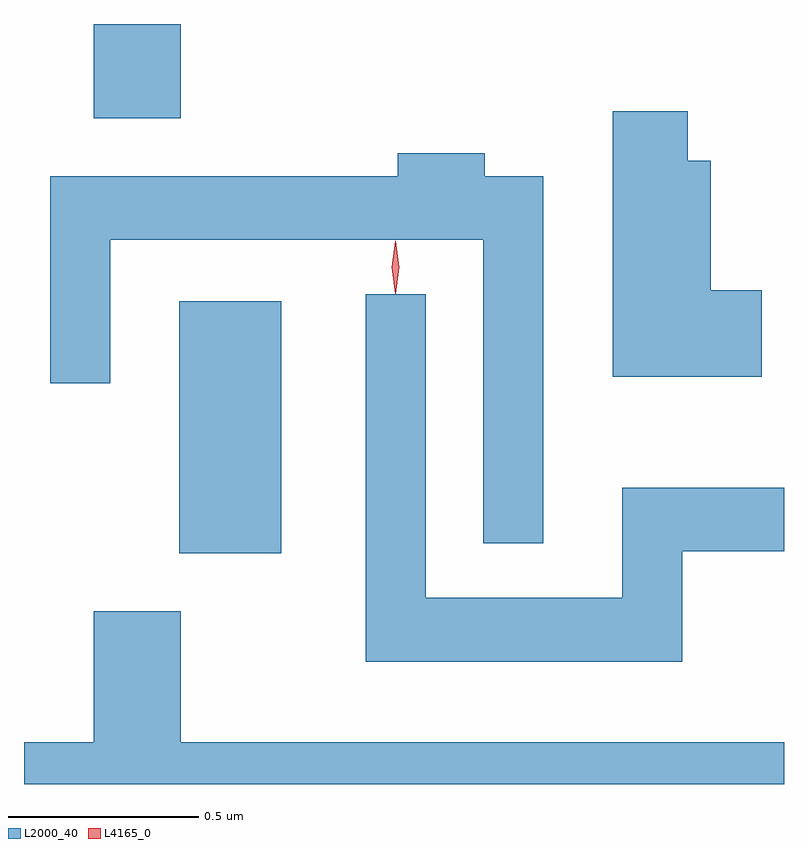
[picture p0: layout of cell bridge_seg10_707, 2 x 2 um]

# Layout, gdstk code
import gdstk
lib = gdstk.Library(unit=1e-6, precision=1e-09)
def R(c, l, rs):  # rectangles x0, y0, x1, y1
    for r in rs: c.add(gdstk.rectangle(r[:2], r[2:], *l))
def P(c, l, *ps):  # polygons
    for p in ps: c.add(gdstk.Polygon(p, *l))
L2000_40 = (2000, 40)
L4165_0 = (4165, 0)

bridge_seg10_707 = lib.new_cell('bridge_seg10_707')
R(bridge_seg10_707, L2000_40, [(997.076,2110.241,997.344,2110.904), (996.851,2111.386,997.079,2111.634)])
P(bridge_seg10_707, L2000_40, [(998.609,2110.934),(998.474,2110.934),(998.474,2111.274),(998.414,2111.274),(998.414,2111.404),(998.216,2111.404),(998.216,2110.706),(998.609,2110.706)],
  [(998.034,2111.234),(997.879,2111.234),(997.879,2111.294),(997.651,2111.294),(997.651,2111.234),(996.736,2111.234),(996.736,2110.688),(996.894,2110.688),(996.894,2111.066),(997.876,2111.066),(997.876,2110.268),(998.034,2110.268)],
  [(998.399,2110.246),(998.667,2110.246),(998.667,2110.414),(998.241,2110.414),(998.241,2110.124),(997.724,2110.124),(997.724,2110.923),(997.566,2110.923),(997.566,2109.956),(998.399,2109.956)],
  [(998.667,2109.744),(997.079,2109.744),(997.079,2110.089),(996.851,2110.089),(996.851,2109.744),(996.667,2109.744),(996.667,2109.634),(998.667,2109.634)])
P(bridge_seg10_707, L4165_0, [(997.645,2110.927),(997.644,2110.928),(997.635,2110.994),(997.644,2111.06),(997.645,2111.06),(997.645,2111.06),(997.655,2110.994),(997.645,2110.928)],
  [(997.644,2110.924),(997.635,2110.994),(997.644,2111.062),(997.645,2111.063),(997.645,2111.062),(997.655,2110.994),(997.645,2110.924),(997.645,2110.924)])

lib.write_gds('bridge_seg10_707.gds')
